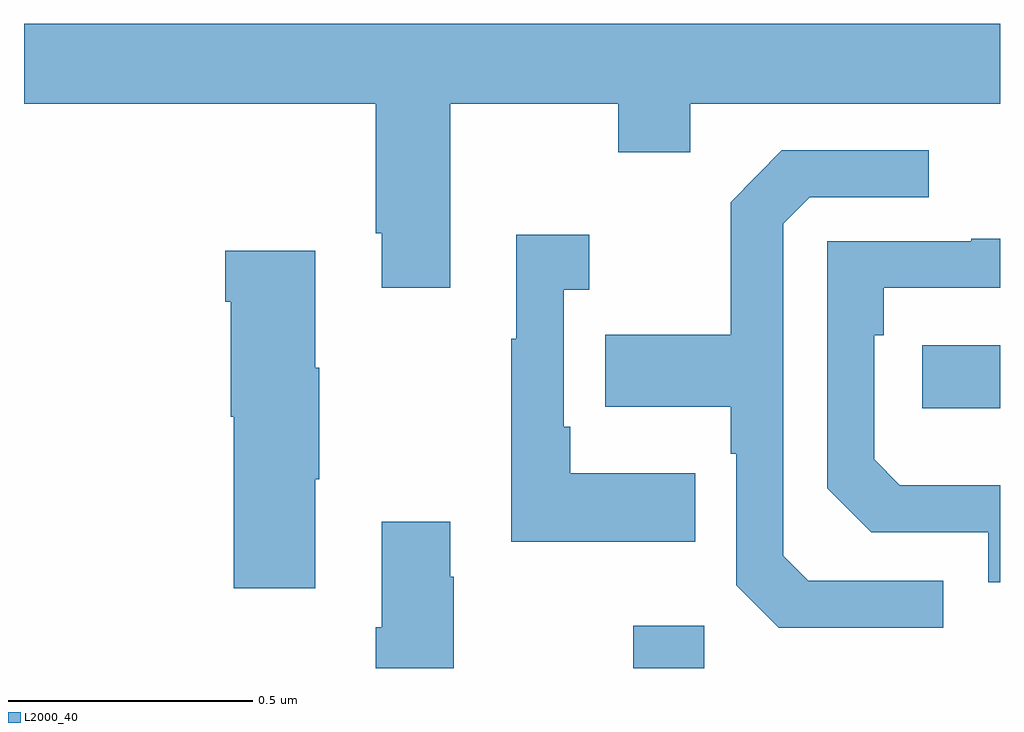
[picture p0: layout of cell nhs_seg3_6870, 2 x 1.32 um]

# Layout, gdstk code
import gdstk
lib = gdstk.Library(unit=1e-6, precision=1e-09)
def R(c, l, rs):  # rectangles x0, y0, x1, y1
    for r in rs: c.add(gdstk.rectangle(r[:2], r[2:], *l))
def P(c, l, *ps):  # polygons
    for p in ps: c.add(gdstk.Polygon(p, *l))
L2000_40 = (2000, 40)

nhs_seg3_6870 = lib.new_cell('nhs_seg3_6870')
R(nhs_seg3_6870, L2000_40, [(197.248,726.4,197.394,726.487), (197.841,726.932,198,727.062)])
P(nhs_seg3_6870, L2000_40, [(196.873,727.556),(197.218,727.556),(197.218,727.457),(197.365,727.457),(197.365,727.556),(198,727.556),(198,727.72),(196,727.72),(196,727.556),(196.721,727.556),(196.721,727.291),(196.733,727.291),(196.733,727.179),(196.873,727.179)],
  [(197.884,726.579),(197.607,726.579),(197.556,726.63),(197.556,727.311),(197.61,727.365),(197.854,727.365),(197.854,727.461),(197.553,727.461),(197.448,727.355),(197.448,727.083),(197.191,727.083),(197.191,726.935),(197.448,726.935),(197.448,726.839),(197.46,726.839),(197.46,726.57),(197.547,726.483),(197.884,726.483)],
  [(197.375,726.799),(197.119,726.799),(197.119,726.895),(197.106,726.895),(197.106,727.175),(197.158,727.175),(197.158,727.288),(197.009,727.288),(197.009,727.075),(196.998,727.075),(196.998,726.659),(197.375,726.659)],
  [(198,726.775),(197.795,726.775),(197.742,726.828),(197.742,727.082),(197.762,727.082),(197.762,727.179),(198,727.179),(198,727.28),(197.941,727.28),(197.941,727.275),(197.646,727.275),(197.646,726.768),(197.736,726.678),(197.976,726.678),(197.976,726.576),(198,726.576)],
  [(196.597,726.787),(196.605,726.787),(196.605,727.015),(196.597,727.015),(196.597,727.255),(196.412,727.255),(196.412,727.151),(196.424,727.151),(196.424,726.915),(196.43,726.915),(196.43,726.564),(196.597,726.564)],
  [(196.881,726.587),(196.873,726.587),(196.873,726.7),(196.733,726.7),(196.733,726.484),(196.721,726.484),(196.721,726.4),(196.881,726.4)])

lib.write_gds('nhs_seg3_6870.gds')
